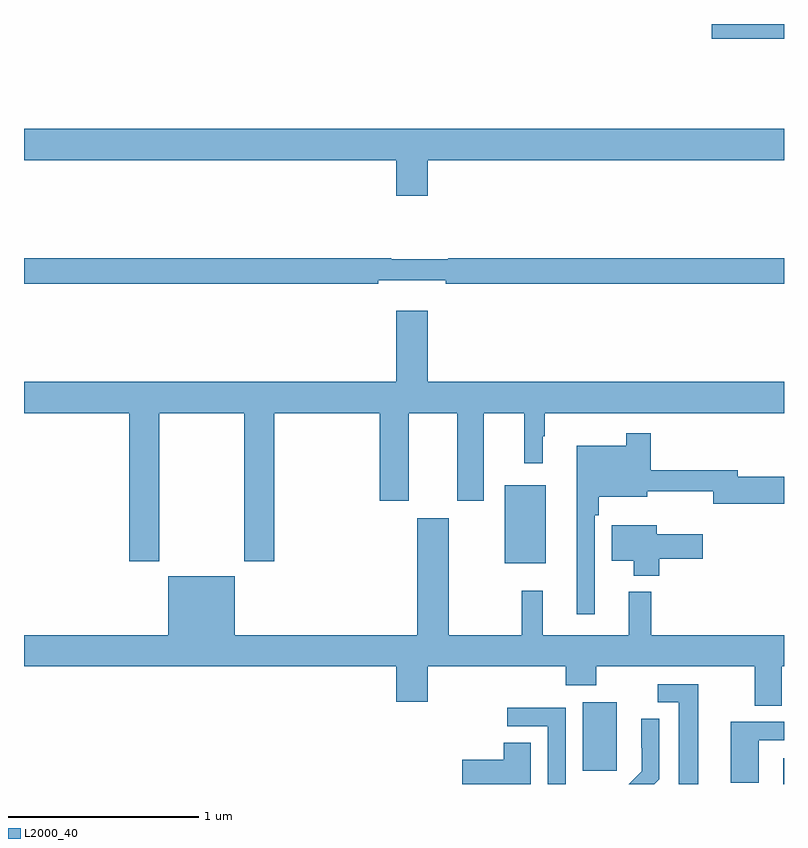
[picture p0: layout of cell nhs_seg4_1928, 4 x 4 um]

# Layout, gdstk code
import gdstk
lib = gdstk.Library(unit=1e-6, precision=1e-09)
def R(c, l, rs):  # rectangles x0, y0, x1, y1
    for r in rs: c.add(gdstk.rectangle(r[:2], r[2:], *l))
def P(c, l, *ps):  # polygons
    for p in ps: c.add(gdstk.Polygon(p, *l))
L2000_40 = (2000, 40)

nhs_seg4_1928 = lib.new_cell('nhs_seg4_1928')
R(nhs_seg4_1928, L2000_40, [(214.997,762.9,215,763.036), (213.941,762.969,214.12,763.33), (213.53,764.063,213.745,764.473), (214.62,766.822,215,766.9)])
P(nhs_seg4_1928, L2000_40, [(213.124,766.184),(215,766.184),(215,766.348),(211,766.348),(211,766.184),(212.96,766.184),(212.96,765.996),(213.124,765.996)],
  [(212.864,765.551),(213.22,765.551),(213.22,765.532),(215,765.532),(215,765.668),(213.232,765.668),(213.232,765.661),(212.932,765.661),(212.932,765.668),(211,765.668),(211,765.532),(212.864,765.532)],
  [(211.713,764.852),(212.158,764.852),(212.158,764.073),(212.318,764.073),(212.318,764.852),(212.873,764.852),(212.873,764.391),(213.025,764.391),(213.025,764.852),(213.281,764.852),(213.281,764.391),(213.421,764.391),(213.421,764.852),(213.632,764.852),(213.632,764.589),(213.73,764.589),(213.73,764.729),(213.742,764.729),(213.742,764.852),(215,764.852),(215,765.016),(213.124,765.016),(213.124,765.391),(212.96,765.391),(212.96,765.016),(211,765.016),(211,764.852),(211.553,764.852),(211.553,764.073),(211.713,764.073)],
  [(214.005,764.315),(214.025,764.315),(214.025,764.411),(214.279,764.411),(214.279,764.44),(214.628,764.44),(214.628,764.375),(215,764.375),(215,764.517),(214.756,764.517),(214.756,764.551),(214.298,764.551),(214.298,764.746),(214.17,764.746),(214.17,764.68),(213.908,764.68),(213.908,763.794),(214.005,763.794)],
  [(214.987,763.52),(215,763.52),(215,763.684),(214.301,763.684),(214.301,763.912),(214.184,763.912),(214.184,763.684),(213.731,763.684),(213.731,763.918),(213.621,763.918),(213.621,763.684),(213.235,763.684),(213.235,764.299),(213.071,764.299),(213.071,763.684),(212.11,763.684),(212.11,763.993),(211.76,763.993),(211.76,763.684),(211,763.684),(211,763.52),(212.96,763.52),(212.96,763.332),(213.124,763.332),(213.124,763.52),(213.851,763.52),(213.851,763.421),(214.011,763.421),(214.011,763.52),(214.847,763.52),(214.847,763.312),(214.987,763.312)],
  [(214.343,764.086),(214.573,764.086),(214.573,764.215),(214.33,764.215),(214.33,764.263),(214.094,764.263),(214.094,764.075),(214.208,764.075),(214.208,763.997),(214.343,763.997)],
  [(214.549,763.425),(214.335,763.425),(214.335,763.329),(214.445,763.329),(214.445,762.9),(214.549,762.9)],
  [(213.852,763.302),(213.543,763.302),(213.543,763.203),(213.756,763.203),(213.756,762.9),(213.852,762.9)],
  [(214.344,762.926),(214.344,763.244),(214.248,763.244),(214.248,763.09),(214.25,763.09),(214.25,762.968),(214.182,762.9),(214.318,762.9)],
  [(214.866,763.131),(215,763.131),(215,763.227),(214.721,763.227),(214.721,762.907),(214.866,762.907)],
  [(213.667,763.118),(213.524,763.118),(213.524,763.028),(213.306,763.028),(213.306,762.9),(213.667,762.9)])

lib.write_gds('nhs_seg4_1928.gds')
